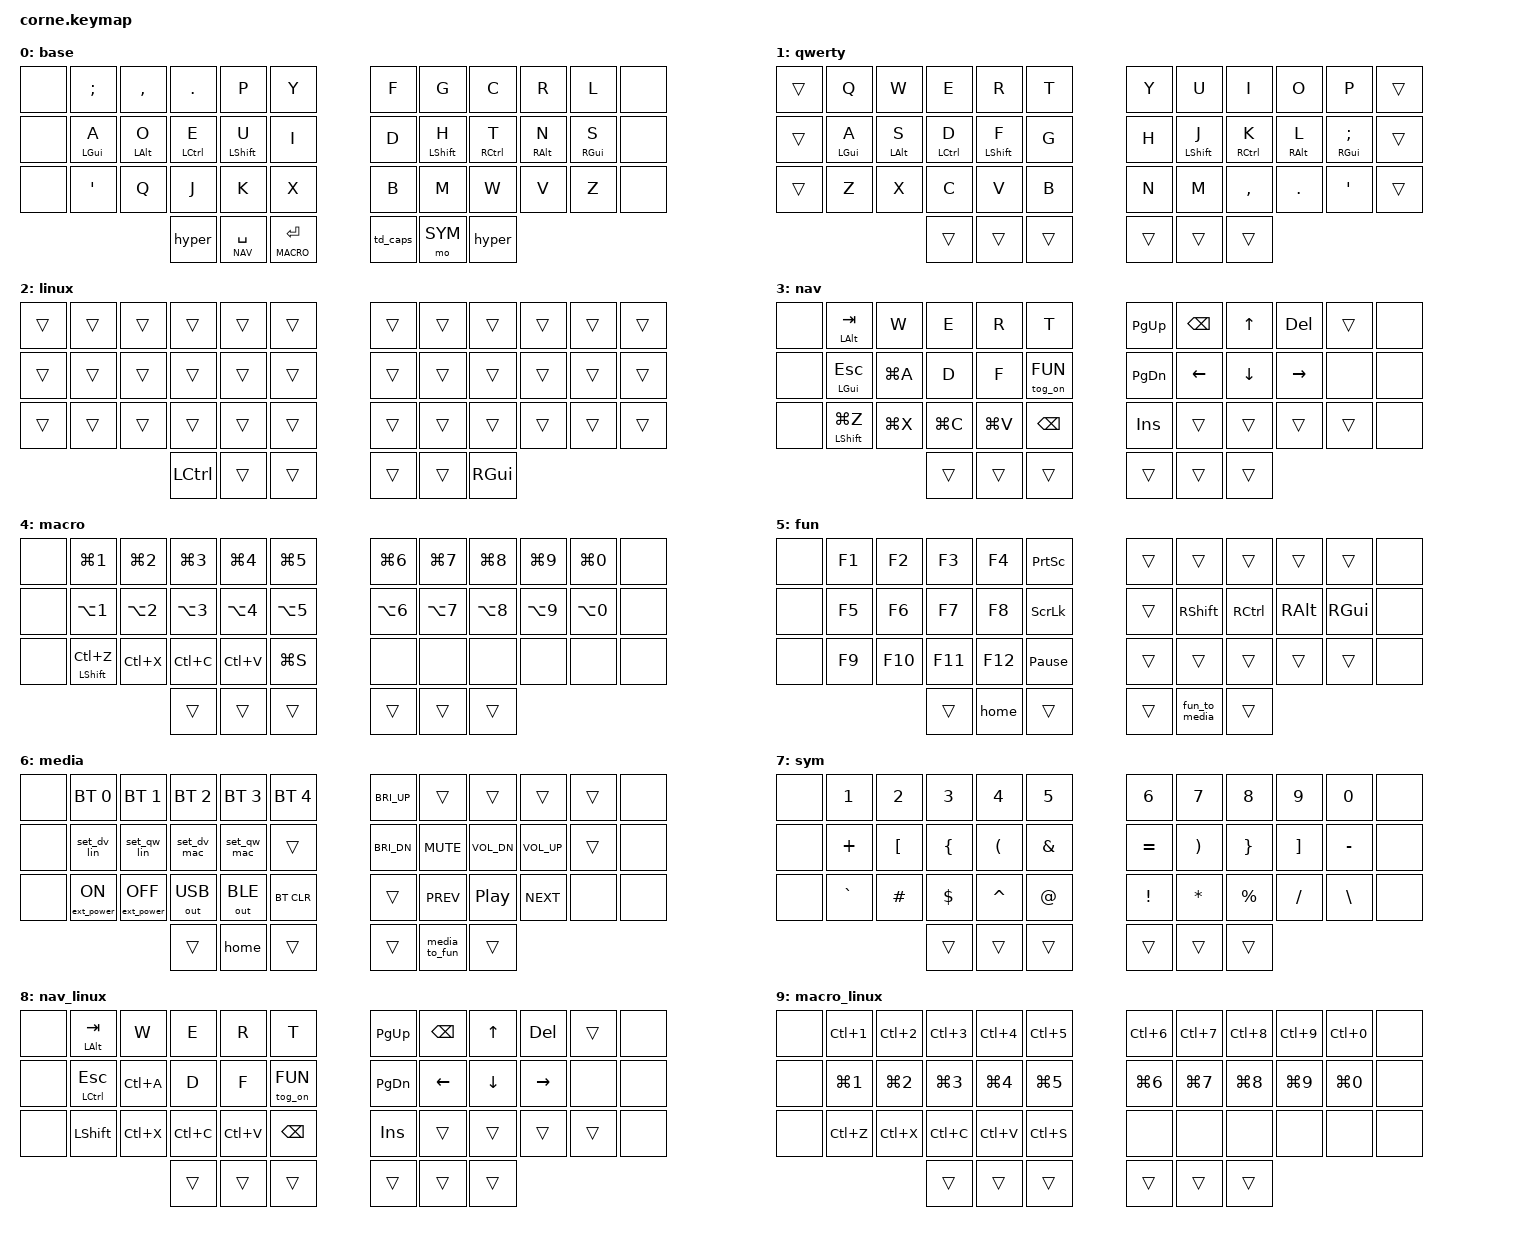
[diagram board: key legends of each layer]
/*
 * Copyright (c) 2020 The ZMK Contributors
 *
 * SPDX-License-Identifier: MIT
 *
 * My take on 'real programmers Dvorak' layout with custom symbol layers.
 * References:
 *     Programmers dv: Programmer Dvorak layout (by Roland Kaufmann)
 *     Real programmers dv: https://github.com/ThePrimeagen
 *     My qmk config: https://github.com/timonviola/qmk_firmware/tree/master/keyboards/crkbd/keymaps/timon
 *
 * Layer model:
 *     BASE is Dvorak + MacOS. QWERTY and LINUX are sparse overlays that stay
 *     toggled on top of BASE, so the 4 combos are:
 *         BASE                   dvorak mac
 *         BASE + QWERTY          qwerty mac
 *         BASE + LINUX           dvorak linux
 *         BASE + QWERTY + LINUX  qwerty linux
 *     OS/layout are set only from MEDIA (&set_*). Never use &to: it would
 *     wipe the QWERTY/LINUX overlays. Use &home to leave FUN/MEDIA instead.
 *     NAV_LINUX and MACRO_LINUX are conditional layers: they turn on by
 *     themselves when NAV/MACRO is active together with LINUX. Never target
 *     them directly.
 */

#include <behaviors.dtsi>
#include <dt-bindings/zmk/keys.h>
#include <dt-bindings/zmk/bt.h>
#include <dt-bindings/zmk/outputs.h>
#include <dt-bindings/zmk/ext_power.h>

#define BASE 0
#define QWERTY 1
#define LINUX 2
#define NAV 3
#define MACRO 4
#define FUN 5
#define MEDIA 6
#define SYM 7
#define NAV_LINUX 8
#define MACRO_LINUX 9

#define KEYS_L 0 1 2 3 4 5 12 13 14 15 16 17 24 25 26 27 28 29 36 37 38
#define KEYS_R 6 7 8 9 10 11 18 19 20 21 22 23 30 31 32 33 34 35 39 40 41

// This is ok if only a single sticky key is used.
// Create new behavior if multiple &sk is used.
&sk {
    quick-release;
};

/ {
    conditional_layers {
        compatible = "zmk,conditional-layers";
        nav_linux {
            if-layers = <NAV LINUX>;
            then-layer = <NAV_LINUX>;
        };
        macro_linux {
            if-layers = <MACRO LINUX>;
            then-layer = <MACRO_LINUX>;
        };
    };

    macros {
        hyper: hyper {
            compatible = "zmk,behavior-macro";
            #binding-cells = <0>;
            bindings = <&macro_press &kp LCTRL &kp LSHIFT &kp LALT &kp LGUI>,
                <&macro_pause_for_release>,
                <&macro_release &kp LCTRL &kp LSHIFT &kp LALT &kp LGUI>;
        };
        hyperkp: hyperkp {
            compatible = "zmk,behavior-macro-one-param";
            #binding-cells = <1>;
            bindings = <&macro_press &kp LCTRL &kp LSHIFT &kp LALT &kp LGUI>,
                <&macro_param_1to1>,
                <&macro_tap &kp MACRO_PLACEHOLDER>,
                <&macro_release &kp LCTRL &kp LSHIFT &kp LALT &kp LGUI>;
        };

        /**
         * Back to base. Turns off FUN/MEDIA, keeps the QWERTY/LINUX overlays.
         */
        home: home {
            compatible = "zmk,behavior-macro";
            #binding-cells = <0>;
            bindings = <&macro_tap &tog_off FUN &tog_off MEDIA>;
        };
        fun_to_media: fun_to_media {
            compatible = "zmk,behavior-macro";
            #binding-cells = <0>;
            bindings = <&macro_tap &tog_on MEDIA &tog_off FUN>;
        };
        media_to_fun: media_to_fun {
            compatible = "zmk,behavior-macro";
            #binding-cells = <0>;
            bindings = <&macro_tap &tog_on FUN &tog_off MEDIA>;
        };

        /**
         * OS + layout selection, used only from MEDIA. Each one also goes home.
         */
        set_dv_lin: set_dv_lin {
            compatible = "zmk,behavior-macro";
            #binding-cells = <0>;
            bindings = <&macro_tap &tog_off QWERTY &tog_on LINUX &tog_off FUN &tog_off MEDIA>;
        };
        set_qw_lin: set_qw_lin {
            compatible = "zmk,behavior-macro";
            #binding-cells = <0>;
            bindings = <&macro_tap &tog_on QWERTY &tog_on LINUX &tog_off FUN &tog_off MEDIA>;
        };
        set_dv_mac: set_dv_mac {
            compatible = "zmk,behavior-macro";
            #binding-cells = <0>;
            bindings = <&macro_tap &tog_off QWERTY &tog_off LINUX &tog_off FUN &tog_off MEDIA>;
        };
        set_qw_mac: set_qw_mac {
            compatible = "zmk,behavior-macro";
            #binding-cells = <0>;
            bindings = <&macro_tap &tog_on QWERTY &tog_off LINUX &tog_off FUN &tog_off MEDIA>;
        };
    };
    behaviors {
        tog_on: toggle_layer_on_only {
            compatible = "zmk,behavior-toggle-layer";
            #binding-cells = <1>;
            toggle-mode = "on";
        };
        tog_off: toggle_layer_off_only {
            compatible = "zmk,behavior-toggle-layer";
            #binding-cells = <1>;
            toggle-mode = "off";
        };
        td_caps: tap_dance_caps_word {
            compatible = "zmk,behavior-tap-dance";
            label = "TD_CAPS_WORD";
            #binding-cells = <0>;
            tapping-term-ms = <200>;
            bindings = <&sk LSHFT>, <&caps_word>;
        };
        /**
         * Positional hold tap, tap preferred
         */
        ptp: positional_hold_tap_pref {
            compatible = "zmk,behavior-hold-tap";
            label = "POSITIONAL_HOLD_TAP_PREF";
            #binding-cells = <2>;
            flavor = "tap-preferred";
            tapping-term-ms = <200>;
            global-quick-tap;
            bindings = <&kp>, <&kp>;
            hold-trigger-on-release;
        };
        /**
         * Positional hold tap, hold preferred
         */
        php: positional_hold_pref_tap {
            compatible = "zmk,behavior-hold-tap";
            label = "POSITIONAL_HOLD_PREF_TAP";
            #binding-cells = <2>;
            flavor = "hold-preferred";
            tapping-term-ms = <100>;
            global-quick-tap;
            bindings = <&kp>, <&kp>;
            hold-trigger-on-release;
        };
        /**
         * Layer positional hold tap, hold preferred
         */
        lphp: layer_positional_hold_pref_tap {
            compatible = "zmk,behavior-hold-tap";
            label = "LAYER_POSITIONAL_HOLD_PREF_TAP";
            #binding-cells = <2>;
            flavor = "hold-preferred";
            tapping-term-ms = <175>;
            global-quick-tap;
            bindings = <&mo>, <&kp>;
            hold-trigger-on-release;
        };
    };
    keymap {
        compatible = "zmk,keymap";

/**==========================================================================*/
/**========================= BASE LAYER + OVERLAYS ==========================*/
/**==========================================================================*/

        /**
         * Base DVORAK layer (MacOS)
         */
        base_layer {
            label = "base";
            bindings = <
   &none &kp SEMI    &kp COMMA   &kp DOT      &kp P        &kp Y                &kp F &kp G        &kp C        &kp R       &kp L       &none
   &none &ptp LGUI A &ptp LALT O &ptp LCTRL E &ptp LSHFT U &kp I                &kp D &ptp LSHFT H &ptp RCTRL T &ptp RALT N &ptp RGUI S &none
   &none &kp SQT     &kp Q       &kp J        &kp K        &kp X                &kp B &kp M        &kp W        &kp V       &kp Z       &none
                            &hyper &lphp NAV SPACE &lphp MACRO RET         &td_caps &mo SYM &hyper
            >;
        };

        /**
         * QWERTY overlay: letters only, everything else falls through
         */
        qwerty_layer {
            label = "qwerty";
            bindings = <
   &trans &kp Q       &kp W       &kp E        &kp R        &kp T                &kp Y &kp U        &kp I        &kp O       &kp P          &trans
   &trans &ptp LGUI A &ptp LALT S &ptp LCTRL D &ptp LSHFT F &kp G                &kp H &ptp LSHFT J &ptp RCTRL K &ptp RALT L &ptp RGUI SEMI &trans
   &trans &kp Z       &kp X       &kp C        &kp V        &kp B                &kp N &kp M        &kp COMMA    &kp DOT     &kp SQT        &trans
                                  &trans &trans &trans                 &trans &trans &trans
            >;
        };

        /**
         * Linux overlay: only keys that differ from MacOS
         */
        linux_layer {
            label = "linux";
            bindings = <
   &trans &trans &trans &trans &trans &trans                 &trans &trans &trans &trans &trans &trans
   &trans &trans &trans &trans &trans &trans                 &trans &trans &trans &trans &trans &trans
   &trans &trans &trans &trans &trans &trans                 &trans &trans &trans &trans &trans &trans
                                  &kp LCTRL &trans &trans    &trans &trans &kp RGUI
            >;
        };

/**==========================================================================*/
/**======================= END BASE LAYER + OVERLAYS ========================*/
/**==========================================================================*/

        /**
         * Navigation layer (MacOS)
         */
        nav_layer {
            label = "nav";
            bindings = <
   &none &php LALT TAB     &kp W     &kp E     &kp R     &kp T          &kp PG_UP &kp BSPC &kp UP   &kp DEL   &trans &none
   &none &php LGUI ESC     &kp LG(A) &kp D     &kp F     &tog_on FUN    &kp PG_DN &kp LEFT &kp DOWN &kp RIGHT &none  &none
   &none &php LSHIFT LG(Z) &kp LG(X) &kp LG(C) &kp LG(V) &kp BSPC       &kp INS  &trans   &trans   &trans    &trans &none
                                      &trans &trans &trans   &trans &trans &trans
            >;
        };

        /**
         * Macro layer (MacOS)
         */
        macro_layer {
            label = "macro";
            bindings = <
   &none &kp LG(N1) &kp LG(N2) &kp LG(N3) &kp LG(N4) &kp LG(N5)       &kp LG(N6) &kp LG(N7) &kp LG(N8) &kp LG(N9) &kp LG(N0) &none
   &none &kp LA(N1) &kp LA(N2) &kp LA(N3) &kp LA(N4) &kp LA(N5)       &kp LA(N6) &kp LA(N7) &kp LA(N8) &kp LA(N9) &kp LA(N0) &none
   &none &php LSHIFT LC(Z) &kp LC(X) &kp LC(C) &kp LC(V) &kp LG(S)    &none      &none      &none      &none      &none      &none
                                            &trans &trans &trans    &trans &trans &trans
            >;
        };

        /**
         * Function layer
         */
        fun_layer {
            label = "fun";
            bindings = <
   &none &kp F1 &kp F2  &kp F3  &kp F4  &kp PSCRN             &trans &trans    &trans    &trans   &trans    &none
   &none &kp F5 &kp F6  &kp F7  &kp F8  &kp SLCK              &trans &kp RSHFT &kp RCTRL &kp RALT &kp RGUI  &none
   &none &kp F9 &kp F10 &kp F11 &kp F12 &kp PAUSE_BREAK       &trans &trans    &trans    &trans   &trans    &none
                                  &trans &home &trans    &trans &fun_to_media &trans
            >;
        };

        /**
         * Media layer. Row 2 left picks OS + layout.
         */
        media_layer {
            label = "media";
            bindings = <
   &none &bt BT_SEL 0     &bt BT_SEL 1      &bt BT_SEL 2 &bt BT_SEL 3   &bt BT_SEL 4    &kp C_BRI_UP &trans     &trans       &trans       &trans &none
   &none &set_dv_lin      &set_qw_lin       &set_dv_mac  &set_qw_mac    &trans          &kp C_BRI_DN &kp C_MUTE &kp C_VOL_DN &kp C_VOL_UP &trans &none
   &none &ext_power EP_ON &ext_power EP_OFF &out OUT_USB &out OUT_BLE   &bt BT_CLR      &trans       &kp C_PREV &kp C_PP     &kp C_NEXT   &none  &none
                                                         &trans &home &trans    &trans &media_to_fun &trans
            >;
        };

        /**
         * Symbol layer
         */
        sym_layer {
            label = "sym";
            bindings = <
   &none &kp N1    &kp N2   &kp N3   &kp N4    &kp N5         &kp N6    &kp N7   &kp N8    &kp N9   &kp N0    &none
   &none &kp PLUS  &kp LBKT &kp LBRC &kp LPAR  &kp AMPS       &kp EQUAL &kp RPAR &kp RBRC  &kp RBKT &kp MINUS &none
   &none &kp GRAVE &kp HASH &kp DLLR &kp CARET &kp AT         &kp EXCL  &kp STAR &kp PRCNT &kp FSLH &kp BSLH  &none
                                    &trans &trans &trans   &trans &trans &trans
            >;
        };

/**==========================================================================*/
/**=================== CONDITIONAL LAYERS (NAV/MACRO + LINUX)=================*/
/**==========================================================================*/

        /**
         * Navigation layer Linux (auto: NAV + LINUX)
         */
        nav_layer_linux {
            label = "nav_linux";
            bindings = <
   &none &php LALT TAB  &kp W     &kp E     &kp R     &kp T         &kp PG_UP &kp BSPC &kp UP   &kp DEL   &trans &none
   &none &php LCTRL ESC &kp LC(A) &kp D     &kp F     &tog_on FUN   &kp PG_DN &kp LEFT &kp DOWN &kp RIGHT &none  &none
   &none &kp LSHFT      &kp LC(X) &kp LC(C) &kp LC(V) &kp BSPC      &kp INS  &trans   &trans   &trans    &trans &none
                                      &trans &trans &trans   &trans &trans &trans
            >;
        };

        /**
         * Macro layer Linux (auto: MACRO + LINUX)
         */
        macro_layer_linux {
            label = "macro_linux";
            bindings = <
   &none &kp LC(N1) &kp LC(N2) &kp LC(N3) &kp LC(N4) &kp LC(N5)        &kp LC(N6) &kp LC(N7) &kp LC(N8) &kp LC(N9) &kp LC(N0) &none
   &none &kp LG(N1) &kp LG(N2) &kp LG(N3) &kp LG(N4) &kp LG(N5)        &kp LG(N6) &kp LG(N7) &kp LG(N8) &kp LG(N9) &kp LG(N0) &none
   &none &kp LC(Z)  &kp LC(X)  &kp LC(C)  &kp LC(V)  &kp LC(S)         &none      &none      &none      &none      &none      &none
                                            &trans &trans &trans    &trans &trans &trans
            >;
        };
    };
};
